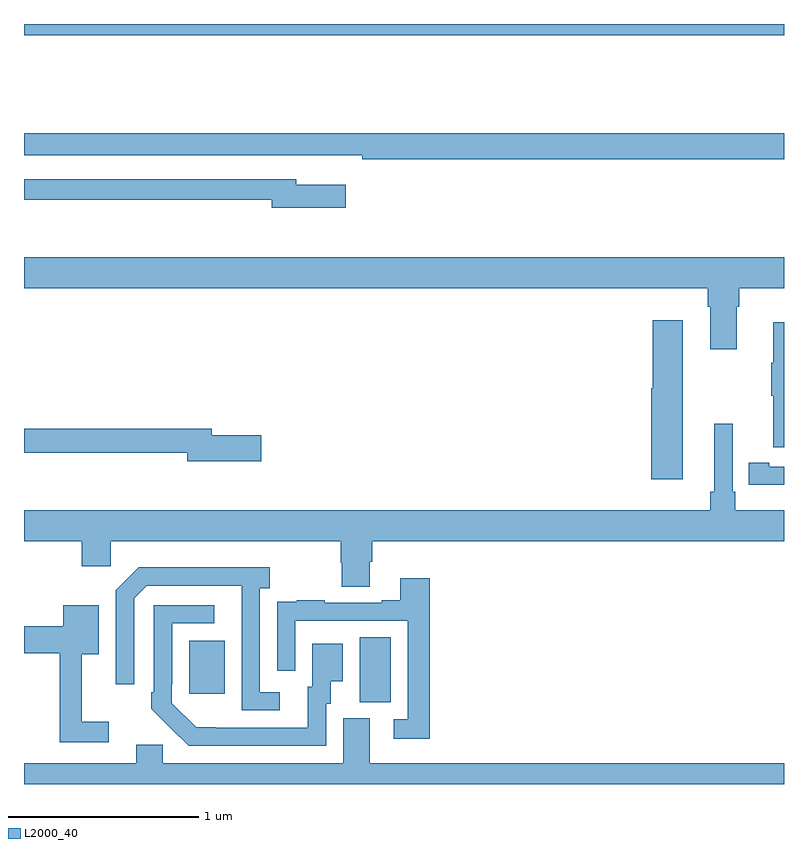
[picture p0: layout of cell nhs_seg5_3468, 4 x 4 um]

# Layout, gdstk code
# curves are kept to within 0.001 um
import gdstk
lib = gdstk.Library(unit=1e-6, precision=1e-09)
def R(c, l, rs):  # rectangles x0, y0, x1, y1
    for r in rs: c.add(gdstk.rectangle(r[:2], r[2:], *l))
def P(c, l, *ps):  # polygons
    for p in ps: c.add(gdstk.Polygon(p, *l))
L2000_40 = (2000, 40)

nhs_seg5_3468 = lib.new_cell('nhs_seg5_3468')
R(nhs_seg5_3468, L2000_40, [(316.766,873.229,316.93,873.572), (315.869,873.273,316.057,873.553), (315,876.74,319,876.799)])
P(nhs_seg5_3468, L2000_40, [(319,876.224),(315,876.224),(315,876.108),(316.528,876.108),(316.528,876.107),(316.78,876.107),(316.78,876.088),(319,876.088)],
  [(316.693,875.953),(316.432,875.953),(316.432,875.982),(315,875.982),(315,875.874),(316.304,875.874),(316.304,875.831),(316.693,875.831)],
  [(318.751,875.312),(318.764,875.312),(318.764,875.408),(319,875.408),(319,875.572),(315,875.572),(315,875.408),(318.599,875.408),(318.599,875.312),(318.611,875.312),(318.611,875.088),(318.751,875.088)],
  [(318.466,875.239),(318.308,875.239),(318.308,874.881),(318.302,874.881),(318.302,874.404),(318.466,874.404)],
  [(319,875.23),(318.944,875.23),(318.944,875.017),(318.933,875.017),(318.933,874.843),(318.944,874.843),(318.944,874.572),(319,874.572)],
  [(316.819,873.97),(316.832,873.97),(316.832,874.076),(319,874.076),(319,874.24),(318.743,874.24),(318.743,874.336),(318.729,874.336),(318.729,874.696),(318.632,874.696),(318.632,874.336),(318.613,874.336),(318.613,874.24),(315,874.24),(315,874.076),(315.305,874.076),(315.305,873.945),(315.456,873.945),(315.456,874.076),(316.667,874.076),(316.667,873.963),(316.672,873.963),(316.672,873.838),(316.819,873.838)],
  [(316.249,874.634),(315.988,874.634),(315.988,874.67),(315,874.67),(315,874.542),(315.86,874.542),(315.86,874.499),(316.249,874.499)],
  [(319,874.47),(318.922,874.47),(318.922,874.49),(318.814,874.49),(318.814,874.374),(318.922,874.374),(318.922,874.373),(319,874.373)],
  [(316.345,873.282),(316.242,873.282),(316.242,873.83),(316.294,873.83),(316.294,873.94),(315.604,873.94),(315.483,873.819),(315.483,873.324),(315.579,873.324),(315.579,873.777),(315.645,873.843),(316.146,873.843),(316.146,873.186),(316.345,873.186)],
  [(317.135,873.883),(316.979,873.883),(316.979,873.766),(316.883,873.766),(316.883,873.753),(316.583,873.753),(316.583,873.766),(316.435,873.766),(316.435,873.759),(316.333,873.759),(316.333,873.65),(316.332,873.65),(316.332,873.396),(316.428,873.396),(316.428,873.657),(317.019,873.657),(317.019,873.141),(316.947,873.141),(316.947,873.036),(317.135,873.036)],
  [(316.59,873.222),(316.615,873.222),(316.615,873.341),(316.678,873.341),(316.678,873.538),(316.517,873.538),(316.517,873.312),(316.493,873.312),(316.493,873.096),(315.906,873.097),(315.777,873.225),(315.777,873.325),(315.78,873.325),(315.78,873.645),(316,873.645),(316,873.741),(315.684,873.741),(315.684,873.283),(315.669,873.283),(315.669,873.195),(315.866,873),(316.59,873)],
  [(315.445,873.127),(315.305,873.127),(315.305,873.482),(315.394,873.482),(315.394,873.739),(315.206,873.739),(315.206,873.63),(315,873.63),(315,873.488),(315.187,873.488),(315.187,873.018),(315.445,873.018)],
  [(319,872.908),(316.819,872.908),(316.819,873.144),(316.679,873.144),(316.679,872.908),(315.729,872.908),(315.729,873.006),(315.59,873.006),(315.59,872.908),(315,872.908),(315,872.799),(319,872.799)])

lib.write_gds('nhs_seg5_3468.gds')
